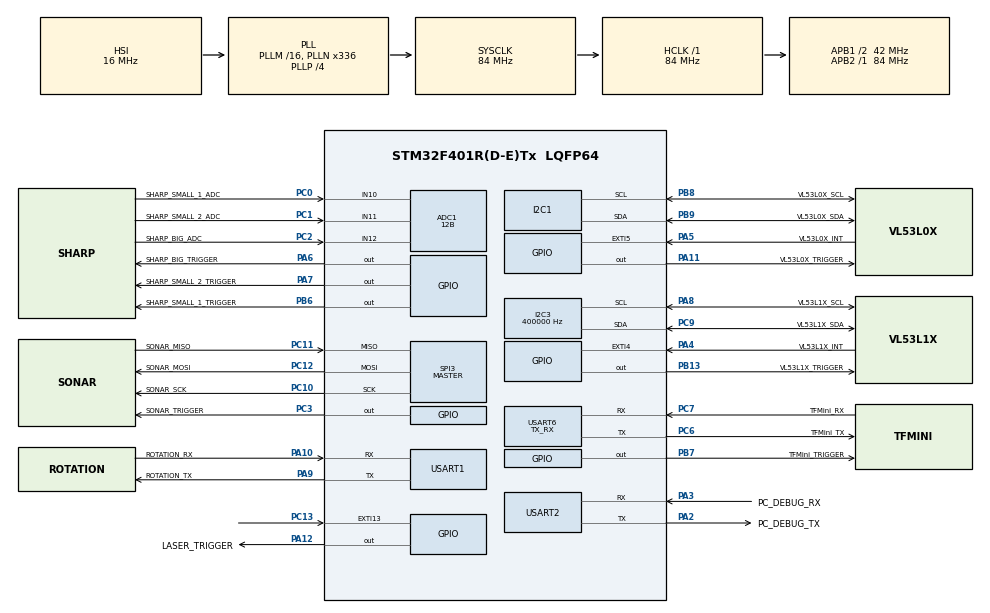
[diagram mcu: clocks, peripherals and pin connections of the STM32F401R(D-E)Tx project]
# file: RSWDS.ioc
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ADC1.Channel-11\#ChannelRegularConversion=ADC_CHANNEL_11
ADC1.Channel-12\#ChannelRegularConversion=ADC_CHANNEL_12
ADC1.Channel-9\#ChannelRegularConversion=ADC_CHANNEL_10
ADC1.ClockPrescaler=ADC_CLOCK_SYNC_PCLK_DIV8
ADC1.ContinuousConvMode=ENABLE
ADC1.DMAContinuousRequests=ENABLE
ADC1.DataAlign=ADC_DATAALIGN_RIGHT
ADC1.DiscontinuousConvMode=DISABLE
ADC1.EOCSelection=ADC_EOC_SINGLE_CONV
ADC1.EnableAnalogWatchDog=false
ADC1.ExternalTrigConv=ADC_SOFTWARE_START
ADC1.ExternalTrigConvEdge=ADC_EXTERNALTRIGCONVEDGE_NONE
ADC1.InjNumberOfConversion=0
ADC1.NbrOfConversion=3
ADC1.NbrOfConversionFlag=1
ADC1.Rank-11\#ChannelRegularConversion=2
ADC1.Rank-12\#ChannelRegularConversion=3
ADC1.Rank-9\#ChannelRegularConversion=1
ADC1.Resolution=ADC_RESOLUTION_12B
ADC1.SamplingTime-11\#ChannelRegularConversion=ADC_SAMPLETIME_480CYCLES
ADC1.SamplingTime-12\#ChannelRegularConversion=ADC_SAMPLETIME_480CYCLES
ADC1.SamplingTime-9\#ChannelRegularConversion=ADC_SAMPLETIME_480CYCLES
ADC1.ScanConvMode=ENABLE
ADC1.master=1
Dma.ADC1.0.Direction=DMA_PERIPH_TO_MEMORY
Dma.ADC1.0.FIFOMode=DMA_FIFOMODE_DISABLE
Dma.ADC1.0.Instance=DMA2_Stream0
Dma.ADC1.0.MemDataAlignment=DMA_MDATAALIGN_HALFWORD
Dma.ADC1.0.MemInc=DMA_MINC_ENABLE
Dma.ADC1.0.Mode=DMA_CIRCULAR
Dma.ADC1.0.PeriphDataAlignment=DMA_PDATAALIGN_HALFWORD
Dma.ADC1.0.PeriphInc=DMA_PINC_DISABLE
Dma.ADC1.0.Priority=DMA_PRIORITY_LOW
Dma.Request0=ADC1
Dma.Request1=USART6_RX
Dma.Request2=USART6_TX
Dma.USART6_RX.1.Direction=DMA_PERIPH_TO_MEMORY
Dma.USART6_RX.1.FIFOMode=DMA_FIFOMODE_DISABLE
Dma.USART6_RX.1.Instance=DMA2_Stream1
Dma.USART6_RX.1.MemDataAlignment=DMA_MDATAALIGN_BYTE
Dma.USART6_RX.1.MemInc=DMA_MINC_ENABLE
Dma.USART6_RX.1.Mode=DMA_CIRCULAR
Dma.USART6_RX.1.PeriphDataAlignment=DMA_PDATAALIGN_BYTE
Dma.USART6_RX.1.PeriphInc=DMA_PINC_DISABLE
Dma.USART6_RX.1.Priority=DMA_PRIORITY_LOW
Dma.USART6_TX.2.Direction=DMA_MEMORY_TO_PERIPH
Dma.USART6_TX.2.FIFOMode=DMA_FIFOMODE_DISABLE
Dma.USART6_TX.2.Instance=DMA2_Stream6
Dma.USART6_TX.2.MemDataAlignment=DMA_MDATAALIGN_BYTE
Dma.USART6_TX.2.MemInc=DMA_MINC_ENABLE
Dma.USART6_TX.2.Mode=DMA_NORMAL
Dma.USART6_TX.2.PeriphDataAlignment=DMA_PDATAALIGN_BYTE
Dma.USART6_TX.2.PeriphInc=DMA_PINC_DISABLE
Dma.USART6_TX.2.Priority=DMA_PRIORITY_LOW
I2C1.I2C_Mode=I2C_Fast
I2C3.ClockSpeed=400000
I2C3.I2C_Mode=I2C_Fast
Mcu.Family=STM32F4
Mcu.Name=STM32F401R(D-E)Tx
Mcu.Package=LQFP64
NVIC.DMA2_Stream0_IRQn=true\:0\:0\:false\:false\:true\:false
NVIC.DMA2_Stream1_IRQn=true\:0\:0\:false\:false\:true\:false
NVIC.DMA2_Stream6_IRQn=true\:0\:0\:false\:false\:true\:false
NVIC.EXTI4_IRQn=true\:0\:0\:false\:false\:true\:true
NVIC.EXTI9_5_IRQn=true\:0\:0\:false\:false\:true\:true
NVIC.PriorityGroup=NVIC_PRIORITYGROUP_0
NVIC.USART2_IRQn=true\:0\:0\:false\:false\:true\:true
NVIC.USART6_IRQn=true\:0\:0\:false\:false\:true\:true
PA10.GPIO_Label=ROTATION_RX
PA10.Mode=Asynchronous
PA10.Signal=USART1_RX
PA11.GPIO_Label=VL53L0X_TRIGGER
PA11.GPIO_Speed=GPIO_SPEED_FREQ_MEDIUM
PA11.PinState=GPIO_PIN_SET
PA11.Signal=GPIO_Output
PA12.GPIO_Label=LASER_TRIGGER
PA12.GPIO_PuPd=GPIO_NOPULL
PA12.GPIO_Speed=GPIO_SPEED_FREQ_MEDIUM
PA12.PinState=GPIO_PIN_SET
PA12.Signal=GPIO_Output
PA13.Mode=Serial_Wire
PA13.Signal=SYS_JTMS-SWDIO
PA14.Mode=Serial_Wire
PA14.Signal=SYS_JTCK-SWCLK
PA2.GPIO_Label=PC_DEBUG_TX
PA2.Mode=Asynchronous
PA2.Signal=USART2_TX
PA3.GPIO_Label=PC_DEBUG_RX
PA3.GPIO_Mode=GPIO_MODE_AF_PP
PA3.GPIO_PuPd=GPIO_PULLUP
PA3.GPIO_Speed=GPIO_SPEED_FREQ_VERY_HIGH
PA3.Mode=Asynchronous
PA3.Signal=USART2_RX
PA4.GPIO_Label=VL53L1X_INT
PA4.GPIO_ModeDefaultEXTI=GPIO_MODE_IT_FALLING
PA4.GPIO_PuPd=GPIO_PULLUP
PA4.Signal=GPXTI4
PA5.GPIO_Label=VL53L0X_INT
PA5.GPIO_ModeDefaultEXTI=GPIO_MODE_IT_FALLING
PA5.GPIO_PuPd=GPIO_PULLUP
PA5.Signal=GPXTI5
PA6.GPIO_Label=SHARP_BIG_TRIGGER
PA6.GPIO_Speed=GPIO_SPEED_FREQ_MEDIUM
PA6.PinState=GPIO_PIN_SET
PA6.Signal=GPIO_Output
PA7.GPIO_Label=SHARP_SMALL_2_TRIGGER
PA7.GPIO_Speed=GPIO_SPEED_FREQ_MEDIUM
PA7.PinState=GPIO_PIN_SET
PA7.Signal=GPIO_Output
PA8.GPIO_Label=VL53L1X_SCL
PA8.Mode=I2C
PA8.Signal=I2C3_SCL
PA9.GPIO_Label=ROTATION_TX
PA9.Mode=Asynchronous
PA9.Signal=USART1_TX
PB13.GPIO_Label=VL53L1X_TRIGGER
PB13.GPIO_Speed=GPIO_SPEED_FREQ_MEDIUM
PB13.PinState=GPIO_PIN_SET
PB13.Signal=GPIO_Output
PB3.Signal=SYS_JTDO-SWO
PB6.GPIO_Label=SHARP_SMALL_1_TRIGGER
PB6.GPIO_Speed=GPIO_SPEED_FREQ_MEDIUM
PB6.PinState=GPIO_PIN_SET
PB6.Signal=GPIO_Output
PB7.GPIO_Label=TFMini_TRIGGER
PB7.GPIO_Speed=GPIO_SPEED_FREQ_MEDIUM
PB7.PinState=GPIO_PIN_SET
PB7.Signal=GPIO_Output
PB8.GPIO_Label=VL53L0X_SCL
PB8.Mode=I2C
PB8.Signal=I2C1_SCL
PB9.GPIO_Label=VL53L0X_SDA
PB9.Mode=I2C
PB9.Signal=I2C1_SDA
PC0.GPIO_Label=SHARP_SMALL_1_ADC
PC0.Signal=ADCx_IN10
PC1.GPIO_Label=SHARP_SMALL_2_ADC
PC1.Signal=ADCx_IN11
PC10.GPIO_Label=SONAR_SCK
PC10.Mode=Full_Duplex_Master
PC10.Signal=SPI3_SCK
PC11.GPIO_Label=SONAR_MISO
PC11.Mode=Full_Duplex_Master
PC11.Signal=SPI3_MISO
PC12.GPIO_Label=SONAR_MOSI
PC12.Mode=Full_Duplex_Master
PC12.Signal=SPI3_MOSI
PC13-ANTI_TAMP.GPIO_ModeDefaultEXTI=GPIO_MODE_IT_RISING
PC13-ANTI_TAMP.GPIO_PuPd=GPIO_NOPULL
PC13-ANTI_TAMP.Signal=GPXTI13
PC14-OSC32_IN.Mode=LSE-External-Oscillator
PC14-OSC32_IN.Signal=RCC_OSC32_IN
PC15-OSC32_OUT.Mode=LSE-External-Oscillator
PC15-OSC32_OUT.Signal=RCC_OSC32_OUT
PC2.GPIO_Label=SHARP_BIG_ADC
PC2.Signal=ADCx_IN12
PC3.GPIO_Label=SONAR_TRIGGER
PC3.GPIO_Speed=GPIO_SPEED_FREQ_MEDIUM
PC3.PinState=GPIO_PIN_SET
PC3.Signal=GPIO_Output
PC6.GPIO_Label=TFMini_TX
PC6.Mode=Asynchronous
PC6.Signal=USART6_TX
PC7.GPIO_Label=TFMini_RX
PC7.Mode=Asynchronous
PC7.Signal=USART6_RX
PC9.GPIO_Label=VL53L1X_SDA
PC9.Mode=I2C
PC9.Signal=I2C3_SDA
PH0\ -\ OSC_IN.Mode=HSE-External-Clock-Source
PH0\ -\ OSC_IN.Signal=RCC_OSC_IN
PH1\ -\ OSC_OUT.Mode=HSE-External-Clock-Source
PH1\ -\ OSC_OUT.Signal=RCC_OSC_OUT
ProjectManager.HeapSize=0x200
ProjectManager.StackSize=0x400
ProjectManager.TargetToolchain=TrueSTUDIO
RCC.48MHZClocksFreq_Value=48000000
RCC.AHBFreq_Value=84000000
RCC.APB1CLKDivider=RCC_HCLK_DIV2
RCC.APB1Freq_Value=42000000
RCC.APB1TimFreq_Value=84000000
RCC.APB2Freq_Value=84000000
RCC.APB2TimFreq_Value=84000000
RCC.CortexFreq_Value=84000000
RCC.HCLKFreq_Value=84000000
RCC.HSE_VALUE=8000000
RCC.HSI_VALUE=16000000
RCC.PLLN=336
RCC.PLLP=RCC_PLLP_DIV4
RCC.PLLQ=7
RCC.SYSCLKFreq_VALUE=84000000
RCC.SYSCLKSource=RCC_SYSCLKSOURCE_PLLCLK
RCC.VCOOutputFreq_Value=336000000
SH.ADCx_IN10.0=ADC1_IN10,IN10
SH.ADCx_IN11.0=ADC1_IN11,IN11
SH.ADCx_IN12.0=ADC1_IN12,IN12
SPI3.Direction=SPI_DIRECTION_2LINES
SPI3.Mode=SPI_MODE_MASTER
SPI3.VirtualType=VM_MASTER
USART1.VirtualMode=VM_ASYNC
USART2.VirtualMode=VM_ASYNC
USART6.Mode=MODE_TX_RX
USART6.VirtualMode=VM_ASYNC
board=NUCLEO-F401RE

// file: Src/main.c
/**
 ******************************************************************************
 * @file           : main.c
 * @brief          : Main program body
 ******************************************************************************
 ** This notice applies to any and all portions of this file
 * that are not between comment pairs USER CODE BEGIN and
 * USER CODE END. Other portions of this file, whether
 * inserted by the user or by software development tools
 * are owned by their respective copyright owners.
 *
 * COPYRIGHT(c) 2018 STMicroelectronics
 *
 * Redistribution and use in source and binary forms, with or without modification,
 * are permitted provided that the following conditions are met:
 *   1. Redistributions of source code must retain the above copyright notice,
 *      this list of conditions and the following disclaimer.
 *   2. Redistributions in binary form must reproduce the above copyright notice,
 *      this list of conditions and the following disclaimer in the documentation
 *      and/or other materials provided with the distribution.
 *   3. Neither the name of STMicroelectronics nor the names of its contributors
 *      may be used to endorse or promote products derived from this software
 *      without specific prior written permission.
 *
 * THIS SOFTWARE IS PROVIDED BY THE COPYRIGHT HOLDERS AND CONTRIBUTORS "AS IS"
 * AND ANY EXPRESS OR IMPLIED WARRANTIES, INCLUDING, BUT NOT LIMITED TO, THE
 * IMPLIED WARRANTIES OF MERCHANTABILITY AND FITNESS FOR A PARTICULAR PURPOSE ARE
 * DISCLAIMED. IN NO EVENT SHALL THE COPYRIGHT HOLDER OR CONTRIBUTORS BE LIABLE
 * FOR ANY DIRECT, INDIRECT, INCIDENTAL, SPECIAL, EXEMPLARY, OR CONSEQUENTIAL
 * DAMAGES (INCLUDING, BUT NOT LIMITED TO, PROCUREMENT OF SUBSTITUTE GOODS OR
 * SERVICES; LOSS OF USE, DATA, OR PROFITS; OR BUSINESS INTERRUPTION) HOWEVER
 * CAUSED AND ON ANY THEORY OF LIABILITY, WHETHER IN CONTRACT, STRICT LIABILITY,
 * OR TORT (INCLUDING NEGLIGENCE OR OTHERWISE) ARISING IN ANY WAY OUT OF THE USE
 * OF THIS SOFTWARE, EVEN IF ADVISED OF THE POSSIBILITY OF SUCH DAMAGE.
 *
 ******************************************************************************
 */
#include <VL53L1.h>
#include "main.h"
#include "stm32f4xx_hal.h"
#include "adc.h"
#include "dma.h"
#include "i2c.h"
#include "spi.h"
#include "usart.h"
#include "gpio.h"

/* USER CODE BEGIN Includes */
#include "TFMini.h"
#include "psd.h"
#include "VL53L0X.h"
#include "VL53L1.h"
/* USER CODE END Includes */

/* USER CODE BEGIN PV */
/* Private variables ---------------------------------------------------------*/

/* USER CODE BEGIN PV */
/* Private variables ---------------------------------------------------------*/
/* USER CODE END PV */

void SystemClock_Config(void);

/* USER CODE BEGIN PFP */
/* Private function prototypes -----------------------------------------------*/

/* USER CODE END PFP */

/* USER CODE BEGIN 0 */
uint8_t received = 0;
uint8_t read_flag = 0;
uint8_t laser_flag = 0;
uint8_t single_sensor = 0;
uint8_t trace_mode = 0;
uint8_t output_level = 0;
uint8_t psd_level = 0;

uint16_t temp_data[9];
uint8_t message_buff[9];
uint8_t message_size = 0;
int message_buff2[50];
int message_size2 = 0;

int _write(int file, char *ptr, int len)
{
	HAL_UART_Transmit(&huart2, (uint8_t*) ptr, len, 50);
	return len;
}

void HAL_GPIO_EXTI_Callback(uint16_t GPIO_Pin)
{
	if (GPIO_Pin == VL53L1X_INT_Pin)
	{
		++VL53L1_callback_counter;
	}
}

void HAL_UART_RxCpltCallback(UART_HandleTypeDef *huart)
{
	if (huart == &huart2)
	{
		uint8_t buffer[50];
		uint16_t size = 0;

		if (trace_mode == 1)
		{
			switch (received)
			{
			case 49: //1
				trace_mode = 2;
				break;
			case 50: //2
				trace_mode = 3;
				break;
			case 51: //3
				trace_mode = 4;
				break;
			}
		}

		if (output_level == 1)
		{
			switch (received)
			{
			case 49: //1
				output_level = 2;
				break;
			case 50: //2
				output_level = 3;
				break;
			}
		}

		if (psd_level == 1)
		{
			switch (received)
			{
			case 49: //1
				psd_level = 2;
				break;
			case 50: //2
				psd_level = 3;
				break;
			}
		}

		if (trace_mode == 0 && output_level == 0 && psd_level == 0)
		{
			switch (received)
			{
			case 122: //z
				read_flag = 1;
				break;
			case 99: //c
				read_flag = 2;
				break;
			case 120: //x
				++laser_flag;
				break;
			case 113: //q
				single_sensor = 1;
				break;
			case 119: //w
				single_sensor = 2;
				break;
			case 101: //e
				single_sensor = 3;
				break;
			case 114: //r
				single_sensor = 4;
				break;
			case 116: //t
				single_sensor = 5;
				break;
			case 121: //y
				single_sensor = 6;
				break;
			case 106: //j
				trace_mode = 1;
				printf("TRACE_LEVEL:\r\n1. CRITICAL_MESSAGE\r\n 2. POSITIVE_MESSAGE\r\n 3. ONLY_OUTPUT\r\n");
				break;
			case 107: //k
				output_level = 1;
				printf("OUTPUT_TYPE:\r\n1. OUTPUT_HUMAN\r\n 2. OUTPUT_MACHINE\r\n");
				break;
			case 108: //l
				psd_level = 1;
				printf("PSD_OUTPUT:\r\n1. PSD_RAW\r\n 2. PSD_SI\r\n");
				break;
			default:
				size = sprintf(buffer, "Odebrano nieznany znak: %c\n\r", received);
				break;
			}
		}
		HAL_UART_Transmit_IT(&huart2, buffer, size);
		HAL_UART_Receive_IT(&huart2, &received, 1);
	}
}

void sequential_read(uint8_t samples_amount, uint8_t delay_time_ms)
{
	int i, j;
	for (j = 0; j < samples_amount; ++j)
	{

		HAL_GPIO_WritePin(VL53L0X_TRIGGER_GPIO_Port, VL53L0X_TRIGGER_Pin, GPIO_PIN_RESET);
		HAL_Delay(delay_time_ms);
		my_VL53L0X_init();
		my_VL53L0X_read();
		temp_data[5] = my_VL53L0X_distance_mm();
		HAL_GPIO_WritePin(VL53L0X_TRIGGER_GPIO_Port, VL53L0X_TRIGGER_Pin, GPIO_PIN_SET);
		HAL_Delay(delay_time_ms);

		HAL_GPIO_WritePin(VL53L1X_TRIGGER_GPIO_Port, VL53L1X_TRIGGER_Pin, GPIO_PIN_RESET);
		HAL_Delay(delay_time_ms);
		my_VL53L1_init();
		my_VL53L1_read();
		temp_data[6] = my_VL53L1_distance_mm();
		HAL_GPIO_WritePin(VL53L1X_TRIGGER_GPIO_Port, VL53L1X_TRIGGER_Pin, GPIO_PIN_SET);
		HAL_Delay(delay_time_ms);

		HAL_GPIO_WritePin(SHARP_SMALL_1_TRIGGER_GPIO_Port,
		SHARP_SMALL_1_TRIGGER_Pin, GPIO_PIN_RESET);
		HAL_Delay(delay_time_ms);
		PSD_read();
		if (psd_output == PSD_RAW)
		{
			temp_data[1] = PSD_small_1_value();
		}
		else if (psd_output == PSD_SI)
		{
			temp_data[1] = PSD_small_1_distance_cm();
		}
		HAL_GPIO_WritePin(SHARP_SMALL_1_TRIGGER_GPIO_Port,
		SHARP_SMALL_1_TRIGGER_Pin, GPIO_PIN_SET);
		HAL_Delay(delay_time_ms);

		HAL_GPIO_WritePin(SHARP_SMALL_2_TRIGGER_GPIO_Port,
		SHARP_SMALL_2_TRIGGER_Pin, GPIO_PIN_RESET);
		HAL_Delay(delay_time_ms);
		PSD_read();
		if (psd_output == PSD_RAW)
		{
			temp_data[2] = PSD_small_2_value();
		}
		else if (psd_output == PSD_SI)
		{
			temp_data[2] = PSD_small_2_distance_cm();
		}
		HAL_GPIO_WritePin(SHARP_SMALL_2_TRIGGER_GPIO_Port,
		SHARP_SMALL_2_TRIGGER_Pin, GPIO_PIN_SET);
		HAL_Delay(delay_time_ms);

		HAL_GPIO_WritePin(SHARP_BIG_TRIGGER_GPIO_Port, SHARP_BIG_TRIGGER_Pin, GPIO_PIN_RESET);
		HAL_Delay(delay_time_ms * 2);
		PSD_read();
		if (psd_output == PSD_RAW)
		{
			temp_data[3] = PSD_big_value();
		}
		else if (psd_output == PSD_SI)
		{
			temp_data[3] = PSD_big_distance_cm();
		}
		HAL_GPIO_WritePin(SHARP_BIG_TRIGGER_GPIO_Port, SHARP_BIG_TRIGGER_Pin, GPIO_PIN_SET);
		HAL_Delay(delay_time_ms * 2);

		HAL_GPIO_WritePin(TFMini_TRIGGER_GPIO_Port, TFMini_TRIGGER_Pin, GPIO_PIN_RESET);
		HAL_Delay(delay_time_ms);
		lidar_read();
		temp_data[4] = lidar_distance_cm();
		HAL_GPIO_WritePin(TFMini_TRIGGER_GPIO_Port, TFMini_TRIGGER_Pin, GPIO_PIN_SET);
		HAL_Delay(delay_time_ms);

		for (i = 0; i < 8; ++i)
			temp_data[8] += temp_data[i];

		temp_data[8] &= 0xFF;

		if (output_type == OUTPUT_MACHINE)
		{

			message_size = sprintf(message_buff, "%02X%02X%02X%02X%02X%02X%02X%02X%02X\r\n", temp_data[0], temp_data[1], temp_data[2], temp_data[3],
					temp_data[4], temp_data[5], temp_data[6], temp_data[7], temp_data[8]);
			HAL_UART_Transmit_IT(&huart2, message_buff, message_size);

		}
		else if (output_type == OUTPUT_HUMAN)
		{
			message_size2 = sprintf(message_buff2, "%04d %04d %04d %04d %04d %04d %04d %04d %04d\r\n", temp_data[0], temp_data[1], temp_data[2], temp_data[3],
					temp_data[4], temp_data[5], temp_data[6], temp_data[7], temp_data[8]);
			HAL_UART_Transmit_IT(&huart2, message_buff2, message_size2);
		}
	}
}

void simultaneous_read(uint8_t samples_amount, uint8_t delay_time_ms)
{
	int i, j;

	for (j = 0; j < samples_amount; ++j)
	{

		HAL_GPIO_WritePin(VL53L0X_TRIGGER_GPIO_Port, VL53L0X_TRIGGER_Pin, GPIO_PIN_RESET);
		HAL_GPIO_WritePin(VL53L1X_TRIGGER_GPIO_Port, VL53L1X_TRIGGER_Pin, GPIO_PIN_RESET);
		HAL_GPIO_WritePin(SHARP_SMALL_1_TRIGGER_GPIO_Port,
		SHARP_SMALL_1_TRIGGER_Pin, GPIO_PIN_RESET);
		HAL_GPIO_WritePin(SHARP_SMALL_2_TRIGGER_GPIO_Port,
		SHARP_SMALL_2_TRIGGER_Pin, GPIO_PIN_RESET);
		HAL_GPIO_WritePin(SHARP_BIG_TRIGGER_GPIO_Port, SHARP_BIG_TRIGGER_Pin, GPIO_PIN_RESET);
		HAL_GPIO_WritePin(TFMini_TRIGGER_GPIO_Port, TFMini_TRIGGER_Pin, GPIO_PIN_RESET);
		HAL_Delay(delay_time_ms);

		if (j == 0)
		{
			my_VL53L0X_init();
			my_VL53L1_init();
		}

		PSD_read();
		lidar_read();
		my_VL53L0X_read();
		my_VL53L1_read();

		HAL_Delay(delay_time_ms);
		HAL_GPIO_WritePin(VL53L0X_TRIGGER_GPIO_Port, VL53L0X_TRIGGER_Pin, GPIO_PIN_SET);
		HAL_GPIO_WritePin(VL53L1X_TRIGGER_GPIO_Port, VL53L1X_TRIGGER_Pin, GPIO_PIN_SET);
		HAL_GPIO_WritePin(SHARP_SMALL_1_TRIGGER_GPIO_Port,
		SHARP_SMALL_1_TRIGGER_Pin, GPIO_PIN_SET);
		HAL_GPIO_WritePin(SHARP_SMALL_2_TRIGGER_GPIO_Port,
		SHARP_SMALL_2_TRIGGER_Pin, GPIO_PIN_SET);
		HAL_GPIO_WritePin(SHARP_BIG_TRIGGER_GPIO_Port, SHARP_BIG_TRIGGER_Pin, GPIO_PIN_SET);
		HAL_GPIO_WritePin(TFMini_TRIGGER_GPIO_Port, TFMini_TRIGGER_Pin, GPIO_PIN_SET);

		if (psd_output == PSD_RAW)
		{
			temp_data[1] = PSD_small_1_distance_cm();
			temp_data[2] = PSD_small_2_distance_cm();
			temp_data[3] = PSD_big_distance_cm();
		}
		else if (psd_output == PSD_SI)
		{
			temp_data[1] = PSD_small_1_value();
			temp_data[2] = PSD_small_2_value();
			temp_data[3] = PSD_big_value();
		}
		temp_data[4] = lidar_distance_cm();
		temp_data[5] = my_VL53L0X_distance_mm();
		temp_data[6] = my_VL53L1_distance_mm();

		for (i = 0; i < 8; ++i)
			temp_data[8] += temp_data[i];

		temp_data[8] &= 0xFF;

		if (output_type == OUTPUT_MACHINE)
		{
			message_size = sprintf(message_buff, "%02X%02X%02X%02X%02X%02X%02X%02X%02X\r\n", temp_data[0], temp_data[1], temp_data[2], temp_data[3],
					temp_data[4], temp_data[5], temp_data[6], temp_data[7], temp_data[8]);
			HAL_UART_Transmit_IT(&huart2, message_buff, message_size);

		}
		else if (output_type == OUTPUT_HUMAN)
		{
			message_size = sprintf(message_buff, "%04d %04d %04d %04d %04d %04d %04d %04d %04d\r\n", temp_data[0], temp_data[1], temp_data[2], temp_data[3],
					temp_data[4], temp_data[5], temp_data[6], temp_data[7], temp_data[8]);
			HAL_UART_Transmit_IT(&huart2, message_buff2, message_size2);
		}
	}
}

void measure_psd_small_1()
{
	uint16_t temp_data;

	HAL_GPIO_WritePin(SHARP_SMALL_1_TRIGGER_GPIO_Port, SHARP_SMALL_1_TRIGGER_Pin, GPIO_PIN_RESET);
	HAL_Delay(20);

	PSD_read();

	if (psd_output == PSD_RAW)
	{
		temp_data = PSD_small_1_value();
	}
	else if (psd_output == PSD_SI)
	{
		temp_data = PSD_small_1_distance_cm();
	}

	HAL_GPIO_WritePin(SHARP_SMALL_1_TRIGGER_GPIO_Port, SHARP_SMALL_1_TRIGGER_Pin, GPIO_PIN_SET);

	if (output_type == OUTPUT_HUMAN)
	{
		uint16_t message_buff[10];
		uint16_t message_size = sprintf(message_buff, "%04d\r\n", temp_data);
	}
	else if (output_type == OUTPUT_MACHINE)
	{
		uint8_t message_buff;
		uint8_t message_size = sprintf(message_buff, "%02\r\n", temp_data);
	}
}

void measure_psd_small_2()
{
	uint16_t temp_data;

	HAL_GPIO_WritePin(SHARP_SMALL_2_TRIGGER_GPIO_Port, SHARP_SMALL_2_TRIGGER_Pin, GPIO_PIN_RESET);
	HAL_Delay(20);

	PSD_read();

	if (psd_output == PSD_RAW)
	{
		temp_data = PSD_small_2_value();
	}
	else if (psd_output == PSD_SI)
	{
		temp_data = PSD_small_2_distance_cm();
	}

	HAL_GPIO_WritePin(SHARP_SMALL_2_TRIGGER_GPIO_Port, SHARP_SMALL_2_TRIGGER_Pin, GPIO_PIN_SET);

	if (output_type == OUTPUT_HUMAN)
	{
		uint16_t message_buff[10];
		uint16_t message_size = sprintf(message_buff, "%04d\r\n", temp_data);
	}
	else if (output_type == OUTPUT_MACHINE)
	{
		uint8_t message_buff;
		uint8_t message_size = sprintf(message_buff, "%02\r\n", temp_data);
	}
}

void measure_psd_big()
{
	uint16_t temp_data;

	HAL_GPIO_WritePin(SHARP_BIG_TRIGGER_GPIO_Port, SHARP_BIG_TRIGGER_Pin, GPIO_PIN_RESET);
	HAL_Delay(20);

	PSD_read();

	if (psd_output == PSD_RAW)
	{
		temp_data = PSD_big_value();
	}
	else if (psd_output == PSD_SI)
	{
		temp_data = PSD_big_distance_cm();
	}

	HAL_GPIO_WritePin(SHARP_BIG_TRIGGER_GPIO_Port, SHARP_BIG_TRIGGER_Pin, GPIO_PIN_SET);

	if (output_type == OUTPUT_HUMAN)
	{
		uint16_t message_buff[10];
		uint16_t message_size = sprintf(message_buff, "%04d\r\n", temp_data);
	}
	else if (output_type == OUTPUT_MACHINE)
	{
		uint8_t message_buff;
		uint8_t message_size = sprintf(message_buff, "%02\r\n", temp_data);
	}
}

void measure_TFMini()
{
	HAL_GPIO_WritePin(TFMini_TRIGGER_GPIO_Port, TFMini_TRIGGER_Pin, GPIO_PIN_RESET);
	HAL_Delay(20);

	lidar_read();
	uint16_t temp_data = lidar_distance_cm();

	HAL_GPIO_WritePin(TFMini_TRIGGER_GPIO_Port, TFMini_TRIGGER_Pin, GPIO_PIN_SET);

	if (output_type == OUTPUT_HUMAN)
	{
		uint16_t message_buff[10];
		uint16_t message_size = sprintf(message_buff, "%04d\r\n", temp_data);
	}
	else if (output_type == OUTPUT_MACHINE)
	{
		uint8_t message_buff;
		uint8_t message_size = sprintf(message_buff, "%02\r\n", temp_data);
	}
}
void measure_VL53L0X()
{
	HAL_GPIO_WritePin(VL53L0X_TRIGGER_GPIO_Port, VL53L0X_TRIGGER_Pin, GPIO_PIN_RESET);
	HAL_Delay(20);

	my_VL53L0X_init();
	my_VL53L0X_read();
	uint16_t temp_data = my_VL53L0X_distance_mm();

	HAL_GPIO_WritePin(VL53L0X_TRIGGER_GPIO_Port, VL53L0X_TRIGGER_Pin, GPIO_PIN_SET);

	if (output_type == OUTPUT_HUMAN)
	{
		uint16_t message_buff[10];
		uint16_t message_size = sprintf(message_buff, "%04d\r\n", temp_data);
	}
	else if (output_type == OUTPUT_MACHINE)
	{
		uint8_t message_buff;
		uint8_t message_size = sprintf(message_buff, "%02\r\n", temp_data);
	}
}
void measure_VL53L1()
{
	HAL_GPIO_WritePin(VL53L1X_TRIGGER_GPIO_Port, VL53L1X_TRIGGER_Pin, GPIO_PIN_RESET);
	HAL_Delay(20);

	my_VL53L1_init();
	my_VL53L1_read();
	uint16_t temp_data = my_VL53L1_distance_mm();

	HAL_GPIO_WritePin(VL53L1X_TRIGGER_GPIO_Port, VL53L1X_TRIGGER_Pin, GPIO_PIN_SET);
	if (output_type == OUTPUT_HUMAN)
	{
		uint16_t message_buff[10];
		uint16_t message_size = sprintf(message_buff, "%04d\r\n", temp_data);
	}
	else if (output_type == OUTPUT_MACHINE)
	{
		uint8_t message_buff;
		uint8_t message_size = sprintf(message_buff, "%02\r\n", temp_data);
	}
}
/* USER CODE END 0 */

int main(void)
{

	/* MCU Configuration----------------------------------------------------------*/

	/* Reset of all peripherals, Initializes the Flash interface and the Systick. */
	HAL_Init();

	/* Configure the system clock */
	SystemClock_Config();

	/* Initialize all configured peripherals */
	MX_GPIO_Init();
	MX_DMA_Init();
	MX_ADC1_Init();
	MX_I2C1_Init();
	MX_USART6_UART_Init();
	MX_I2C3_Init();
	MX_USART2_UART_Init();
	MX_USART1_UART_Init();
	MX_SPI3_Init();
	/* USER CODE BEGIN 2 */
	set_trace_level_output_only();
	set_output_type_human();
	set_psd_value_raw();

	PSD_init();
	lidar_init();
	HAL_UART_Receive_IT(&huart2, &received, 1);
	trace(POSITIVE_MESSAGE, "Program has been started");

	/* USER CODE END 2 */

	/* Infinite loop */
	/* USER CODE BEGIN WHILE */
	temp_data[0] = 105; //frame header
	temp_data[7] = 0; //temp sonar val

	while (1)
	{

		if (read_flag == 1) //z
		{
			sequential_read(10, 50);

			HAL_Delay(20);
			read_flag = 0;
			message_size2 = sprintf(message_buff2, "--------------------------------------------\r\n");
			HAL_UART_Transmit_IT(&huart2, message_buff2, message_size2);
		}
		else if (read_flag == 2) //c
		{
			simultaneous_read(10, 50);

			HAL_Delay(20);
			read_flag = 0;
			message_size2 = sprintf(message_buff2, "--------------------------------------------\r\n");
			HAL_UART_Transmit_IT(&huart2, message_buff2, message_size2);
		}

		if (laser_flag != 0) //x
		{
			HAL_GPIO_TogglePin(LASER_TRIGGER_GPIO_Port, LASER_TRIGGER_Pin);
			--laser_flag;
		}

		if (single_sensor == 1) //q
		{
			trace(POSITIVE_MESSAGE, "PSD_SMALL_1:");
			measure_psd_small_1();
			single_sensor = 0;
		}

		else if (single_sensor == 2) //w
		{
			trace(POSITIVE_MESSAGE, "PSD_SMALL_2:");
			measure_psd_small_2();
			single_sensor = 0;
		}

		else if (single_sensor == 3) //e
		{
			trace(POSITIVE_MESSAGE, "PSD_BIG:");
			measure_psd_big();
			single_sensor = 0;
		}

		else if (single_sensor == 4) //r
		{
			trace(POSITIVE_MESSAGE, "TFMINI:");
			measure_TFMini();
			single_sensor = 0;
		}

		else if (single_sensor == 5) //t
		{
			trace(POSITIVE_MESSAGE, "VL53L0X:");
			measure_VL53L0X();
			single_sensor = 0;
		}

		else if (single_sensor == 6) //y
		{
			trace(POSITIVE_MESSAGE, "VL53L1:");
			measure_VL53L1();
			single_sensor = 0;
		}

		if (trace_mode == 2)
		{
			set_trace_level_critical();
			trace(POSITIVE_MESSAGE, "TRACE MODE SET TO CRITICAL_MESSAGE");
			trace_mode = 0;
		}
		else if (trace_mode == 3)
		{
			set_trace_level_positive();
			trace(POSITIVE_MESSAGE, "TRACE MODE SET TO POSITIVE_MESSAGE");
			trace_mode = 0;
		}
		else if (trace_mode == 4)
		{
			set_trace_level_output_only();
			trace(POSITIVE_MESSAGE, "TRACE MODE SET TO OUTPUT_ONLY");
			trace_mode = 0;
		}

		if (output_level == 2)
		{
			set_output_type_human();
			trace(POSITIVE_MESSAGE, "OUTPUT TYPE SET TO HUMAN");
			output_level = 0;
		}
		else if (output_level == 3)
		{
			set_output_type_machine();
			trace(POSITIVE_MESSAGE, "OUTPUT TYPE SET TO MACHINE");
			output_level = 0;
		}

		if (psd_level == 2)
		{
			set_psd_value_raw();
			trace(POSITIVE_MESSAGE, "PSD OUTPUT SET TO RAW");
			psd_level = 0;
		}
		else if (psd_level == 3)
		{
			set_psd_value_si();
			trace(POSITIVE_MESSAGE, "PSD OUTPUT SET TO SI");
			psd_level = 0;
		}

		HAL_Delay(10);
		/* USER CODE END WHILE */

		/* USER CODE BEGIN 3 */
	}
	PSD_free();
	lidar_free();
	/* USER CODE END 3 */
}

void SystemClock_Config(void)
{

	RCC_OscInitTypeDef RCC_OscInitStruct;
	RCC_ClkInitTypeDef RCC_ClkInitStruct;

	/**Configure the main internal regulator output voltage
	 */
	__HAL_RCC_PWR_CLK_ENABLE()
	;

	__HAL_PWR_VOLTAGESCALING_CONFIG(PWR_REGULATOR_VOLTAGE_SCALE2);

	/**Initializes the CPU, AHB and APB busses clocks
	 */
	RCC_OscInitStruct.OscillatorType = RCC_OSCILLATORTYPE_HSI;
	RCC_OscInitStruct.HSIState = RCC_HSI_ON;
	RCC_OscInitStruct.HSICalibrationValue = 16;
	RCC_OscInitStruct.PLL.PLLState = RCC_PLL_ON;
	RCC_OscInitStruct.PLL.PLLSource = RCC_PLLSOURCE_HSI;
	RCC_OscInitStruct.PLL.PLLM = 16;
	RCC_OscInitStruct.PLL.PLLN = 336;
	RCC_OscInitStruct.PLL.PLLP = RCC_PLLP_DIV4;
	RCC_OscInitStruct.PLL.PLLQ = 7;
	if (HAL_RCC_OscConfig(&RCC_OscInitStruct) != HAL_OK)
	{
		_Error_Handler(__FILE__, __LINE__);
	}

	/**Initializes the CPU, AHB and APB busses clocks
	 */
	RCC_ClkInitStruct.ClockType = RCC_CLOCKTYPE_HCLK | RCC_CLOCKTYPE_SYSCLK | RCC_CLOCKTYPE_PCLK1 | RCC_CLOCKTYPE_PCLK2;
	RCC_ClkInitStruct.SYSCLKSource = RCC_SYSCLKSOURCE_PLLCLK;
	RCC_ClkInitStruct.AHBCLKDivider = RCC_SYSCLK_DIV1;
	RCC_ClkInitStruct.APB1CLKDivider = RCC_HCLK_DIV2;
	RCC_ClkInitStruct.APB2CLKDivider = RCC_HCLK_DIV1;

	if (HAL_RCC_ClockConfig(&RCC_ClkInitStruct, FLASH_LATENCY_2) != HAL_OK)
	{
		_Error_Handler(__FILE__, __LINE__);
	}

	/**Configure the Systick interrupt time
	 */
	HAL_SYSTICK_Config(HAL_RCC_GetHCLKFreq() / 1000);

	/**Configure the Systick
	 */
	HAL_SYSTICK_CLKSourceConfig(SYSTICK_CLKSOURCE_HCLK);

	/* SysTick_IRQn interrupt configuration */
	HAL_NVIC_SetPriority(SysTick_IRQn, 0, 0);
}

void _Error_Handler(char *file, int line)
{
	while (1)
	{
	}
}

/************************ (C) COPYRIGHT STMicroelectronics *****END OF FILE****/
